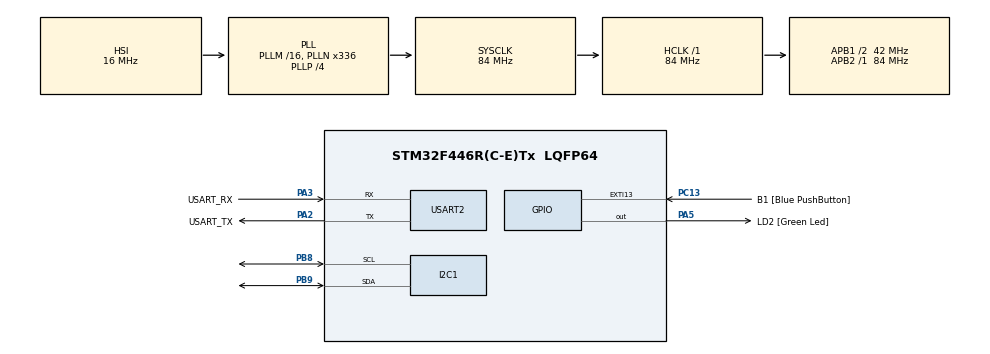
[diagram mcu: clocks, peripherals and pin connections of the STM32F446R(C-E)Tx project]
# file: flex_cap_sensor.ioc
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Mcu.Family=STM32F4
Mcu.Name=STM32F446R(C-E)Tx
Mcu.Package=LQFP64
NVIC.PriorityGroup=NVIC_PRIORITYGROUP_0
PA13.GPIO_Label=TMS
PA13.Mode=Serial_Wire
PA13.Signal=SYS_JTMS-SWDIO
PA14.GPIO_Label=TCK
PA14.Mode=Serial_Wire
PA14.Signal=SYS_JTCK-SWCLK
PA2.GPIO_Label=USART_TX
PA2.Mode=Asynchronous
PA2.Signal=USART2_TX
PA3.GPIO_Label=USART_RX
PA3.Mode=Asynchronous
PA3.Signal=USART2_RX
PA5.GPIO_Label=LD2 [Green Led]
PA5.Signal=GPIO_Output
PB3.GPIO_Label=SWO
PB3.Signal=SYS_JTDO-SWO
PB8.GPIO_Pu=GPIO_PULLUP
PB8.Mode=I2C
PB8.Signal=I2C1_SCL
PB9.GPIO_Pu=GPIO_PULLUP
PB9.Mode=I2C
PB9.Signal=I2C1_SDA
PC13.GPIO_Label=B1 [Blue PushButton]
PC13.GPIO_ModeDefaultEXTI=GPIO_MODE_IT_FALLING
PC13.Signal=GPXTI13
PC14-OSC32_IN.Mode=LSE-External-Oscillator
PC14-OSC32_IN.Signal=RCC_OSC32_IN
PC15-OSC32_OUT.Mode=LSE-External-Oscillator
PC15-OSC32_OUT.Signal=RCC_OSC32_OUT
PH0-OSC_IN.Mode=HSE-External-Oscillator
PH0-OSC_IN.Signal=RCC_OSC_IN
PH1-OSC_OUT.Mode=HSE-External-Oscillator
PH1-OSC_OUT.Signal=RCC_OSC_OUT
ProjectManager.HeapSize=0x200
ProjectManager.StackSize=0x400
ProjectManager.TargetToolchain=STM32CubeIDE
RCC.48MHZClocksFreq_Value=84000000
RCC.AHBFreq_Value=84000000
RCC.APB1CLKDivider=RCC_HCLK_DIV2
RCC.APB1Freq_Value=42000000
RCC.APB1TimFreq_Value=84000000
RCC.APB2Freq_Value=84000000
RCC.APB2TimFreq_Value=84000000
RCC.CortexFreq_Value=84000000
RCC.FLatency-AdvancedSettings=FLASH_LATENCY_2
RCC.HCLKFreq_Value=84000000
RCC.HSE_VALUE=8000000
RCC.HSI_VALUE=16000000
RCC.PLLN=336
RCC.PLLP=RCC_PLLP_DIV4
RCC.SYSCLKFreq_VALUE=84000000
RCC.SYSCLKSource=RCC_SYSCLKSOURCE_PLLCLK
RCC.USBFreq_Value=168000000
RCC.VCOOutputFreq_Value=336000000
USART2.VirtualMode=VM_ASYNC
board=NUCLEO-F446RE

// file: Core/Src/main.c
/* USER CODE BEGIN Header */
/**
  ******************************************************************************
  * @file           : main.c
  * @brief          : Main program body
  ******************************************************************************
  * @attention
  *
  * Copyright (c) 2025 STMicroelectronics.
  * All rights reserved.
  *
  * This software is licensed under terms that can be found in the LICENSE file
  * in the root directory of this software component.
  * If no LICENSE file comes with this software, it is provided AS-IS.
  *
  ******************************************************************************
  */
/* USER CODE END Header */
#include "main.h"
#include "fdc1004.h"

/* USER CODE BEGIN Includes */

#include <string.h>
#include <stdio.h>
#include <inttypes.h>

/* USER CODE END Includes */

I2C_HandleTypeDef hi2c1;

UART_HandleTypeDef huart2;

/* USER CODE BEGIN PV */

static const uint8_t FDC1004_ADDR = 0x50 << 1;

uint8_t buf[12];
HAL_StatusTypeDef ret;
uint16_t msb_comb, lsb_comb;
unsigned long tot_comb;
float cap;

/* USER CODE END PV */

void SystemClock_Config(void);
static void MX_GPIO_Init(void);
static void MX_USART2_UART_Init(void);
static void MX_I2C1_Init(void);

int main(void)
{

  /* MCU Configuration--------------------------------------------------------*/

  /* Reset of all peripherals, Initializes the Flash interface and the Systick. */
  HAL_Init();

  /* Configure the system clock */
  SystemClock_Config();

  /* Initialize all configured peripherals */
  MX_GPIO_Init();
  MX_USART2_UART_Init();
  MX_I2C1_Init();

  /* Infinite loop */
  /* USER CODE BEGIN WHILE */

  fdc1004_init(&hi2c1);

  while (1)
  {

	  buf[0] = 0x02;
	  ret = HAL_I2C_Master_Transmit(&hi2c1, FDC1004_ADDR, buf, 1, HAL_MAX_DELAY);
	  if ( ret != HAL_OK )
	  {
		  printf("TX Fail\r\n");
	  }
	  else
	  {
		  ret = HAL_I2C_Master_Receive(&hi2c1, FDC1004_ADDR, buf, 2, HAL_MAX_DELAY);
		  if ( ret != HAL_OK )
		  {
			  printf("RX Fail\r\n");
		  }
		  else
		  {
			  printf("FDC Measure 1 MSB Read Success!\r\n");
			  printf("0x%x\r\n", buf[0]);
			  printf("0x%x\r\n", buf[1]);
		  }
	  }

	  msb_comb = ((uint16_t)buf[0] << 8) | buf[1];
	  printf("0x%x\r\n", msb_comb);

	  buf[0] = 0x03;
	  ret = HAL_I2C_Master_Transmit(&hi2c1, FDC1004_ADDR, buf, 1, HAL_MAX_DELAY);
	  if ( ret != HAL_OK )
	  {
		  printf("TX Fail\r\n");
	  }
	  else
	  {
		  ret = HAL_I2C_Master_Receive(&hi2c1, FDC1004_ADDR, buf, 2, HAL_MAX_DELAY);
		  if ( ret != HAL_OK )
		  {
			  printf("RX Fail\r\n");
		  }
		  else
		  {
			  printf("FDC Measure 1 LSB Read Success!\r\n");
			  printf("0x%x\r\n", buf[0]);
			  printf("0x%x\r\n", buf[1]);
		  }
	  }

	  tot_comb = ((uint32_t)msb_comb << 8) | buf[0];
	  printf("0x%lu\r\n", tot_comb);

	  cap = tot_comb;

	  cap = cap/524288;
	  printf("Capacitance: %.6f\r\n", cap);

	  HAL_Delay(100);

    /* USER CODE END WHILE */

  }
}

void SystemClock_Config(void)
{
  RCC_OscInitTypeDef RCC_OscInitStruct = {0};
  RCC_ClkInitTypeDef RCC_ClkInitStruct = {0};

  /** Configure the main internal regulator output voltage
  */
  __HAL_RCC_PWR_CLK_ENABLE();
  __HAL_PWR_VOLTAGESCALING_CONFIG(PWR_REGULATOR_VOLTAGE_SCALE3);

  /** Initializes the RCC Oscillators according to the specified parameters
  * in the RCC_OscInitTypeDef structure.
  */
  RCC_OscInitStruct.OscillatorType = RCC_OSCILLATORTYPE_HSI;
  RCC_OscInitStruct.HSIState = RCC_HSI_ON;
  RCC_OscInitStruct.HSICalibrationValue = RCC_HSICALIBRATION_DEFAULT;
  RCC_OscInitStruct.PLL.PLLState = RCC_PLL_ON;
  RCC_OscInitStruct.PLL.PLLSource = RCC_PLLSOURCE_HSI;
  RCC_OscInitStruct.PLL.PLLM = 16;
  RCC_OscInitStruct.PLL.PLLN = 336;
  RCC_OscInitStruct.PLL.PLLP = RCC_PLLP_DIV4;
  RCC_OscInitStruct.PLL.PLLQ = 2;
  RCC_OscInitStruct.PLL.PLLR = 2;
  if (HAL_RCC_OscConfig(&RCC_OscInitStruct) != HAL_OK)
  {
    Error_Handler();
  }

  /** Initializes the CPU, AHB and APB buses clocks
  */
  RCC_ClkInitStruct.ClockType = RCC_CLOCKTYPE_HCLK|RCC_CLOCKTYPE_SYSCLK
                              |RCC_CLOCKTYPE_PCLK1|RCC_CLOCKTYPE_PCLK2;
  RCC_ClkInitStruct.SYSCLKSource = RCC_SYSCLKSOURCE_PLLCLK;
  RCC_ClkInitStruct.AHBCLKDivider = RCC_SYSCLK_DIV1;
  RCC_ClkInitStruct.APB1CLKDivider = RCC_HCLK_DIV2;
  RCC_ClkInitStruct.APB2CLKDivider = RCC_HCLK_DIV1;

  if (HAL_RCC_ClockConfig(&RCC_ClkInitStruct, FLASH_LATENCY_2) != HAL_OK)
  {
    Error_Handler();
  }
}

static void MX_I2C1_Init(void)
{

  hi2c1.Instance = I2C1;
  hi2c1.Init.ClockSpeed = 100000;
  hi2c1.Init.DutyCycle = I2C_DUTYCYCLE_2;
  hi2c1.Init.OwnAddress1 = 0;
  hi2c1.Init.AddressingMode = I2C_ADDRESSINGMODE_7BIT;
  hi2c1.Init.DualAddressMode = I2C_DUALADDRESS_DISABLE;
  hi2c1.Init.OwnAddress2 = 0;
  hi2c1.Init.GeneralCallMode = I2C_GENERALCALL_DISABLE;
  hi2c1.Init.NoStretchMode = I2C_NOSTRETCH_DISABLE;
  if (HAL_I2C_Init(&hi2c1) != HAL_OK)
  {
    Error_Handler();
  }

}

static void MX_USART2_UART_Init(void)
{

  huart2.Instance = USART2;
  huart2.Init.BaudRate = 115200;
  huart2.Init.WordLength = UART_WORDLENGTH_8B;
  huart2.Init.StopBits = UART_STOPBITS_1;
  huart2.Init.Parity = UART_PARITY_NONE;
  huart2.Init.Mode = UART_MODE_TX_RX;
  huart2.Init.HwFlowCtl = UART_HWCONTROL_NONE;
  huart2.Init.OverSampling = UART_OVERSAMPLING_16;
  if (HAL_UART_Init(&huart2) != HAL_OK)
  {
    Error_Handler();
  }

}

static void MX_GPIO_Init(void)
{
  GPIO_InitTypeDef GPIO_InitStruct = {0};

  /* GPIO Ports Clock Enable */
  __HAL_RCC_GPIOC_CLK_ENABLE();
  __HAL_RCC_GPIOH_CLK_ENABLE();
  __HAL_RCC_GPIOA_CLK_ENABLE();
  __HAL_RCC_GPIOB_CLK_ENABLE();

  /*Configure GPIO pin Output Level */
  HAL_GPIO_WritePin(LD2_GPIO_Port, LD2_Pin, GPIO_PIN_RESET);

  /*Configure GPIO pin : B1_Pin */
  GPIO_InitStruct.Pin = B1_Pin;
  GPIO_InitStruct.Mode = GPIO_MODE_IT_FALLING;
  GPIO_InitStruct.Pull = GPIO_NOPULL;
  HAL_GPIO_Init(B1_GPIO_Port, &GPIO_InitStruct);

  /*Configure GPIO pin : LD2_Pin */
  GPIO_InitStruct.Pin = LD2_Pin;
  GPIO_InitStruct.Mode = GPIO_MODE_OUTPUT_PP;
  GPIO_InitStruct.Pull = GPIO_NOPULL;
  GPIO_InitStruct.Speed = GPIO_SPEED_FREQ_LOW;
  HAL_GPIO_Init(LD2_GPIO_Port, &GPIO_InitStruct);

}

/* USER CODE BEGIN 4 */

int _write(int file, char *ptr, int len)
{
  (void)file;
  int DataIdx;

  for (DataIdx = 0; DataIdx < len; DataIdx++)
  {
    ITM_SendChar(*ptr++);
  }
  return len;
}

/* USER CODE END 4 */

void Error_Handler(void)
{
  __disable_irq();
  while (1)
  {
  }
}
